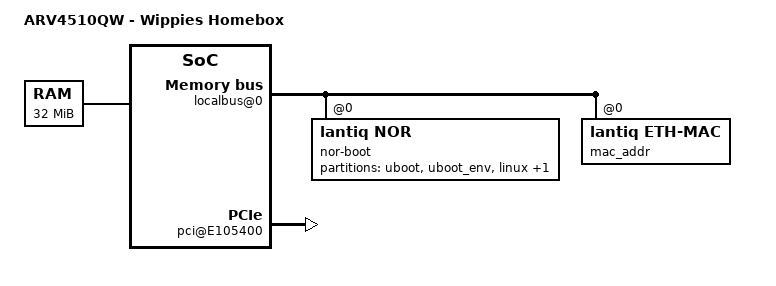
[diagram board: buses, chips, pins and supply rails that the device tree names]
/dts-v1/;

/include/ "danube.dtsi"

/ {
	model = "ARV4510QW - Wippies Homebox";

	chosen {
		bootargs = "console=ttyLTQ0,115200 init=/etc/preinit";
	};

	memory@0 {
		reg = <0x0 0x2000000>;
	};

	sram@1F000000 {
		vmmc@107000 {
			status = "okay";
		};
	};

	fpi@10000000 {
		localbus@0 {
			nor-boot@0 {
				compatible = "lantiq,nor";
				bank-width = <2>;
				reg = <0 0x0 0x1000000>;
				#address-cells = <1>;
				#size-cells = <1>;

				partition@0 {
					label = "uboot";
					reg = <0x00000 0x20000>;
					read-only;
				};

				partition@20000 {
					label = "uboot_env";
					reg = <0x20000 0x20000>;
					read-only;
				};

				partition@240000 {
					label = "linux";
					reg = <0x40000 0xf00000>;
				};

				partition@fe0000 {
					label = "boardconfig";
					reg = <0xfe0000 0x10000>;
					read-only;
				};
			};

			mac_addr {
				compatible = "lantiq,eth-mac";
				reg = <0 0xff0016 0x6>;
				mac-increment = <2>;
			};
		};
		gpio: pinmux@E100B10 {
			pinctrl-names = "default";
			pinctrl-0 = <&state_default>;

			state_default: pinmux {
				stp {
					lantiq,groups = "stp";
                                        lantiq,function = "stp";
				};
				exin {
					lantiq,groups = "exin2";
					lantiq,function = "exin";
				};
				pci_in {
					lantiq,groups = "req1", "req2";
					lantiq,function = "pci";
					lantiq,open-drain = <1>;
					lantiq,pull = <2>;
					lantiq,output = <0>;
				};
				pci_out {
					lantiq,groups = "gnt1";
					lantiq,function = "pci";
					lantiq,output = <1>;
				};
				pci_rst {
					lantiq,pins = "io21";
					lantiq,pull = <0>;
					lantiq,output = <1>;
				};
			};
		};

		gpios: stp@E100BB0 {
			status = "okay";
		};

		etop@E180000 {
			phy-mode = "rmii";
		};

		pci@E105400 {
			status = "okay";
			lantiq,external-clock;
			interrupt-map = <
                                0x7000 0 0 1 &icu0 30
		                0x7800 0 0 1 &icu0 135
			        0x7800 0 0 2 &icu0 135
			        0x7800 0 0 3 &icu0 135
			>;
			gpio-reset = <&gpio 21 0>;
			req-mask = <0x3>;
		};

	};
};
